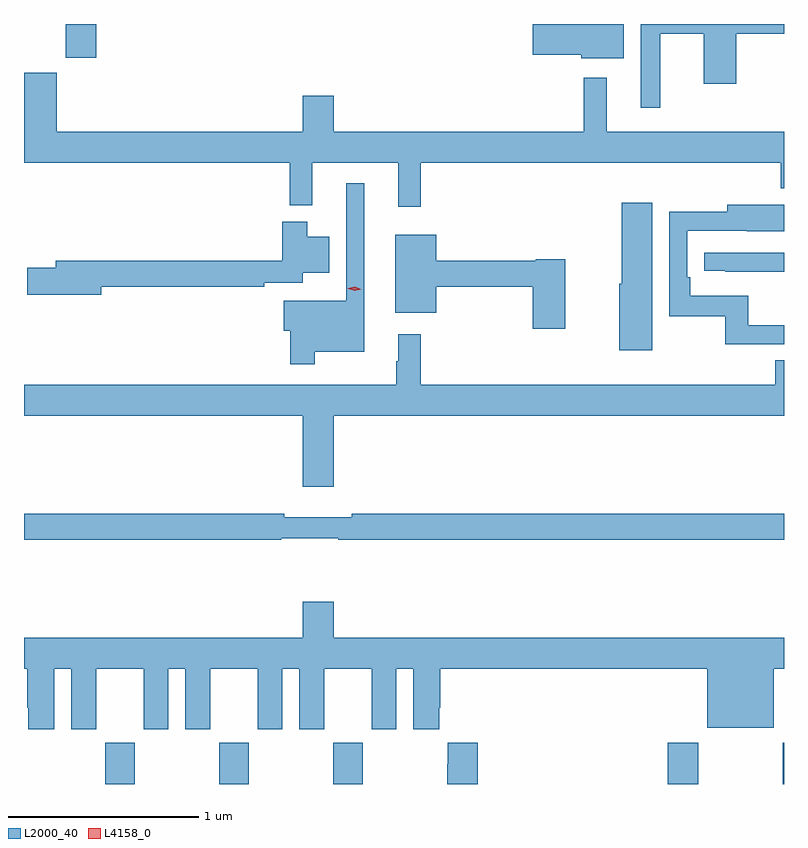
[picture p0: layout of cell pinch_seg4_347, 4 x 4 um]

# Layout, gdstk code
import gdstk
lib = gdstk.Library(unit=1e-6, precision=1e-09)
def R(c, l, rs):  # rectangles x0, y0, x1, y1
    for r in rs: c.add(gdstk.rectangle(r[:2], r[2:], *l))
def A(c, l, x, y, w, h, nx, ny, dx, dy):  # array of equal rectangles
    R(c, l, [(x+i*dx, y+j*dy, x+i*dx+w, y+j*dy+h) for i in range(nx) for j in range(ny)])
def P(c, l, *ps):  # polygons
    for p in ps: c.add(gdstk.Polygon(p, *l))
L2000_40 = (2000, 40)
L4158_0 = (4158, 0)

pinch_seg4_347 = lib.new_cell('pinch_seg4_347')
A(pinch_seg4_347, L2000_40, 991.141, 800.21, 0.155, 0.218, 3, 1, 0.6, 0)
R(pinch_seg4_347, L2000_40, [(994.103,800.21,994.263,800.428), (994.708,800.21,994.714,800.428), (990.934,804.033,991.094,804.21)])
P(pinch_seg4_347, L2000_40, [(993.871,804.21),(993.392,804.21),(993.392,804.047),(993.648,804.047),(993.648,804.029),(993.871,804.029)],
  [(994.063,804.16),(994.292,804.16),(994.292,803.895),(994.463,803.895),(994.463,804.16),(994.714,804.16),(994.714,804.21),(993.959,804.21),(993.959,803.769),(994.063,803.769)],
  [(992.801,803.48),(994.697,803.48),(994.697,803.345),(994.714,803.345),(994.714,803.644),(993.781,803.644),(993.781,803.926),(993.66,803.926),(993.66,803.644),(992.344,803.644),(992.344,803.833),(992.18,803.833),(992.18,803.644),(990.886,803.644),(990.886,803.953),(990.714,803.953),(990.714,803.48),(992.113,803.48),(992.113,803.255),(992.231,803.255),(992.231,803.48),(992.684,803.48),(992.684,803.247),(992.801,803.247)],
  [(992.245,802.484),(992.506,802.484),(992.506,803.371),(992.409,803.371),(992.409,802.753),(992.082,802.753),(992.082,802.595),(992.116,802.595),(992.116,802.419),(992.245,802.419)],
  [(994.021,803.269),(993.86,803.269),(993.86,802.842),(993.848,802.842),(993.848,802.494),(994.021,802.494)],
  [(994.714,802.625),(994.525,802.625),(994.525,802.78),(994.22,802.78),(994.22,802.876),(994.206,802.876),(994.206,803.121),(994.519,803.121),(994.519,803.12),(994.714,803.12),(994.714,803.26),(994.415,803.26),(994.415,803.222),(994.11,803.222),(994.11,802.671),(994.404,802.671),(994.404,802.524),(994.714,802.524)],
  [(991.12,802.828),(991.978,802.828),(991.978,802.848),(992.181,802.848),(992.181,802.901),(992.32,802.901),(992.32,803.089),(992.206,803.089),(992.206,803.17),(992.072,803.17),(992.072,802.964),(990.881,802.964),(990.881,802.928),(990.732,802.928),(990.732,802.786),(991.12,802.786)],
  [(993.562,802.972),(993.408,802.972),(993.408,802.964),(992.884,802.964),(992.884,803.101),(992.669,803.101),(992.669,802.691),(992.884,802.691),(992.884,802.828),(993.392,802.828),(993.392,802.605),(993.562,802.605)],
  [(994.714,803.007),(994.293,803.007),(994.293,802.911),(994.405,802.911),(994.405,802.906),(994.714,802.906)],
  [(992.344,802.148),(994.714,802.148),(994.714,802.439),(994.669,802.439),(994.669,802.312),(992.801,802.312),(992.801,802.576),(992.684,802.576),(992.684,802.436),(992.673,802.436),(992.673,802.312),(990.714,802.312),(990.714,802.148),(992.18,802.148),(992.18,801.774),(992.344,801.774)],
  [(992.068,801.504),(992.368,801.504),(992.368,801.496),(994.714,801.496),(994.714,801.632),(992.44,801.632),(992.44,801.613),(992.084,801.613),(992.084,801.632),(990.714,801.632),(990.714,801.496),(992.068,801.496)],
  [(990.714,800.816),(990.731,800.816),(990.731,800.611),(990.737,800.611),(990.737,800.499),(990.874,800.499),(990.874,800.816),(990.962,800.816),(990.962,800.499),(991.093,800.499),(991.093,800.816),(991.343,800.816),(991.343,800.499),(991.474,800.499),(991.474,800.816),(991.562,800.816),(991.562,800.499),(991.693,800.499),(991.693,800.816),(991.943,800.816),(991.943,800.499),(992.074,800.499),(992.074,800.816),(992.162,800.816),(992.162,800.499),(992.293,800.499),(992.293,800.816),(992.543,800.816),(992.543,800.499),(992.674,800.499),(992.674,800.816),(992.762,800.816),(992.762,800.499),(992.899,800.499),(992.899,800.611),(992.906,800.611),(992.906,800.816),(994.31,800.816),(994.31,800.507),(994.66,800.507),(994.66,800.816),(994.714,800.816),(994.714,800.98),(992.344,800.98),(992.344,801.169),(992.18,801.169),(992.18,800.98),(990.714,800.98)],
  [(993.101,800.428),(992.945,800.428),(992.945,800.315),(992.941,800.315),(992.941,800.21),(993.101,800.21)])
P(pinch_seg4_347, L4158_0, [(992.454,802.806),(992.42,802.817),(992.419,802.818),(992.42,802.818),(992.455,802.826),(992.49,802.815),(992.49,802.815),(992.49,802.815)])

lib.write_gds('pinch_seg4_347.gds')
